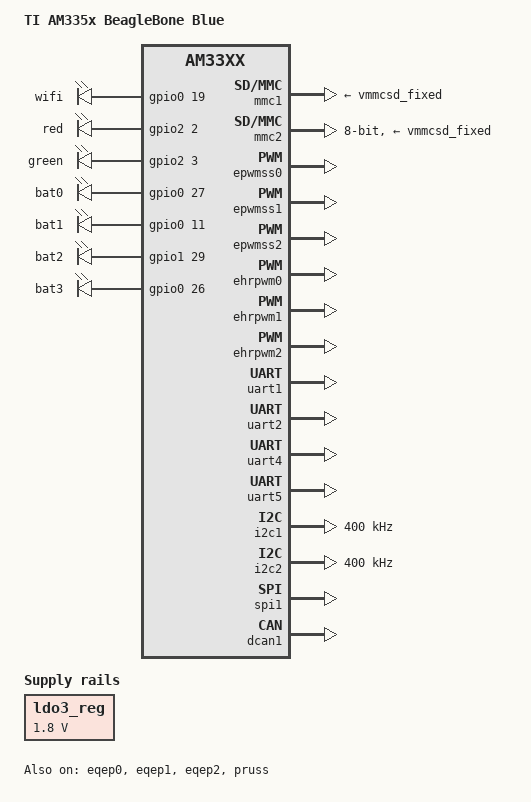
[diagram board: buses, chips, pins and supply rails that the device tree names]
/*
 * Copyright (C) 2012 Texas Instruments Incorporated - http://www.ti.com/
 *
 * This program is free software; you can redistribute it and/or modify
 * it under the terms of the GNU General Public License version 2 as
 * published by the Free Software Foundation.
 */

/dts-v1/;

#include "am33xx.dtsi"
#include "am335x-bone-common-no-capemgr.dtsi"
#include "am335x-bone-common-universal-pins.dtsi"
#include "am335x-boneblue-wl1835.dtsi"
#include "am33xx-pruss-rproc.dtsi"

#define BLUE_IO(x, y) AM33XX_IOPAD((x)*4+0x800, (y)) /* not used anymore */


/ {
	model = "TI AM335x BeagleBone Blue";
	compatible = "ti,am335x-bone-blue", "ti,am335x-bone", "ti,am33xx";
};

&ldo3_reg {
	regulator-min-microvolt = <1800000>;
	regulator-max-microvolt = <1800000>;
	regulator-always-on;
};

&mmc1 {
	vmmc-supply = <&vmmcsd_fixed>;
};

&mmc2 {
	vmmc-supply = <&vmmcsd_fixed>;
	pinctrl-names = "default";
	pinctrl-0 = <&emmc_pins>;
	bus-width = <8>;
	status = "okay";
};

&mac {
	status = "disabled";
};

&cpu0_opp_table {
	//osd335x
	opp50@300000000 {
		status = "disabled";
	};
};

/*******************************************************************************
* Pin Muxing
*******************************************************************************/
&am33xx_pinmux {

	/***************************************************************************
	* Static Pinmux
	***************************************************************************/
	mux_helper_pins: pins {
		pinctrl-single,pins = <

			/* GPIO Inputs */
			0x09c 0x37	/*P8.9  Pause BUTTON, input pullup*/
			0x098 0x37	/*P8.10 MODE BUTTON input pullup*/
			0x1AC 0x37	/*P9.25 MPU-9150 INTERRUPT IN*/

			/* Motor Control GPIO Out*/
			0x088 ( PIN_OUTPUT | MUX_MODE7 ) /* (T13) gpmc_csn3.gpio2[0] - MDIR_1A different from cape! */
			0x074 ( PIN_OUTPUT | MUX_MODE7 ) /* (U17) gpmc_wpn.gpio0[31] - P9.13, MDIR_1B */
			0x040 ( PIN_OUTPUT | MUX_MODE7 ) /* (R13) gpmc_a0.gpio1[16] - P9.15, MDIR_2A */
			0x0D8 ( PIN_OUTPUT | MUX_MODE7 ) /* (V4) lcd_data14.gpio0[10] - P8.31, MDIR_2B different from cape! */
			0x0AC ( PIN_OUTPUT | MUX_MODE7 ) /* (R4) lcd_data3.gpio2[9] - P8.44, MDIR_3A */
			0x0A8 ( PIN_OUTPUT | MUX_MODE7 ) /* (R3) lcd_data2.gpio2[8] - P8.43, MDIR_3B */
			0x0A0 ( PIN_OUTPUT | MUX_MODE7 ) /* (R1) lcd_data0.gpio2[6] - P8.45, MDIR_4A */
			0x0A4 ( PIN_OUTPUT | MUX_MODE7 ) /* (R2) lcd_data1.gpio2[7] - P8.46, MDIR_4B */
			0x1B4 ( PIN_OUTPUT | MUX_MODE7 ) /* (D14) xdma_event_intr1.gpio0[20] - P9.41, MOT_STBY */

			/* HRPWM 1 */
			0x048  0x6 /* P9_14 | MODE 6 */
			0x04c  0x6 /* P9_16 | MODE 6 */

			/* HRPWM 2 */
			0x020  0x4 /* P8_19 | MODE 4 */
			0x024  0x4 /* P8_13 | MODE 4 */

			/* EQEP */
			0x1A0 0x31  /* P9_42,EQEP0A, MODE1 */
			0x1A4 0x31  /* P9_27,EQEP0B, MODE1 */
			0x0D4 0x32  /* P8_33,EQEP1B, MODE2 */
			0x0D0 0x32  /* P8_35,EQEP1A, MODE2 */
			0x030 0x34  /* P8_12,EQEP2A, MODE4 */
			0x034 0x34  /* P8_11,EQEP2B, MODE4 */

			/* PRU encoder input */
			0x03c 0x35
			0x038 0x36	/* P8_16,PRU0_r31_16,MODE6 */

			/* PRU Servo output */
			0x0e0 0x05	/*pru1_pru_r30_8, MODE5*/
			0x0e8 0x05	/*pru1_pru_r30_10, MODE5 */
			0x0e4 0x05	/*pr1_pru1_pru_r30_9, MODE5 */
			0x0ec 0x05	/*pru1_pru_r30_11, MODE5 */
			0x0b8 0x05	/*pru1_pru_r30_6, MODE5 */
			0x0bc 0x05	/*pru1_pru_r30_7, MODE5 */
			0x0b0 0x05	/*pru1_pru_r30_4, MODE5 */
			0x0b4 0x05	/*pru1_pru_r30_5, MODE5 */
			0x0C8 0x0F	/*P8.36, SERVO_PWR GPIO OUT*/

			/* I2C1 */
			0x15C 0x32	/* P9.17,i2c1_scl,INPUT_PULLUP,MODE2 */
			0x158 0x32	/* P9.18,i2c1_sda,INPUT_PULLUP,MODE2 */

			/* I2C2 */
			0x17c  0x73 /* P9.19, i2c2_sda, mode 3 */
			0x178  0x73 /* P9.20, i2c2_sda, mode 3 */

			/* UART5 */
			0x0C4 ( PIN_INPUT | MUX_MODE4 ) /* (U2) lcd_data9.uart5_rxd - P8.38 */
			0x0C0 ( PIN_OUTPUT | MUX_MODE4 ) /* (U1) lcd_data8.uart5_txd - P8.37 */

			/* WILINK 8 */
			0x08c 0x0F	/*P8.18 V12 A2DP FSYNC */
			0x078 0x0F	/*P9.12 A2DP_CLOCK*/
		>;

		/***********************************************************************
		* New configurable pinmux modes for pins not on Black headers
		***********************************************************************/
		/* H18 SPI1_SS1    */
		H18_default_pin: pinmux_H18_default_pin {
			pinctrl-single,pins = < 0x144 ( PIN_OUTPUT | MUX_MODE2 ) >; };
		H18_gpio_pin: pinmux_H18_gpio_pin {
			pinctrl-single,pins = < 0x144 ( PIN_OUTPUT | MUX_MODE7 ) >; };
		H18_gpio_pu_pin: pinmux_H18_gpio_pu_pin {
			pinctrl-single,pins = < 0x144 ( PIN_INPUT_PULLUP | MUX_MODE7 ) >; };
		H18_gpio_pd_pin: pinmux_H18_gpio_pd_pin {
			pinctrl-single,pins = < 0x144 ( PIN_INPUT_PULLDOWN | MUX_MODE7 ) >; };
		H18_spi_pin: pinmux_H18_spi_pin {
			pinctrl-single,pins = < 0x144 ( PIN_OUTPUT | MUX_MODE2 ) >; };

		/* C18 SPI1_SS2    */
		C18_default_pin: pinmux_C18_default_pin {
			pinctrl-single,pins = < 0x164 ( PIN_OUTPUT | MUX_MODE2 ) >; };
		C18_gpio_pin: pinmux_C18_gpio_pin {
			pinctrl-single,pins = < 0x164 ( PIN_OUTPUT | MUX_MODE7 ) >; };
		C18_gpio_pu_pin: pinmux_C18_gpio_pu_pin {
			pinctrl-single,pins = < 0x164 ( PIN_INPUT_PULLUP | MUX_MODE7 ) >; };
		C18_gpio_pd_pin: pinmux_C18_gpio_pd_pin {
			pinctrl-single,pins = < 0x164 ( PIN_INPUT_PULLDOWN | MUX_MODE7 ) >; };
		C18_spi_pin: pinmux_C18_spi_pin {
			pinctrl-single,pins = < 0x164 ( PIN_OUTPUT | MUX_MODE2 ) >; };

		/* U16 BLUE_GP0_PIN_3 gpio 1_25   */
		U16_default_pin: pinmux_U16_default_pin {
			pinctrl-single,pins = < 0x064 ( PIN_INPUT_PULLUP | MUX_MODE7 ) >; };
		U16_gpio_pin: pinmux_U16_gpio_pin {
			pinctrl-single,pins = < 0x064 ( PIN_OUTPUT | MUX_MODE7 ) >; };
		U16_gpio_pu_pin: pinmux_U16_gpio_pu_pin {
			pinctrl-single,pins = < 0x064 ( PIN_INPUT_PULLUP | MUX_MODE7 ) >; };
		U16_gpio_pd_pin: pinmux_U16_gpio_pd_pin {
			pinctrl-single,pins = < 0x064 ( PIN_INPUT_PULLDOWN | MUX_MODE7 ) >; };

		/* D13 BLUE_GP0_PIN_5 gpio 3_20  */
		D13_default_pin: pinmux_D13_default_pin {
			pinctrl-single,pins = < 0x1A8 ( PIN_INPUT_PULLUP | MUX_MODE7 ) >; };
		D13_gpio_pin: pinmux_D13_gpio_pin {
			pinctrl-single,pins = < 0x1A8 ( PIN_OUTPUT | MUX_MODE7 ) >; };
		D13_gpio_pu_pin: pinmux_D13_gpio_pu_pin {
			pinctrl-single,pins = < 0x1A8 ( PIN_INPUT_PULLUP | MUX_MODE7 ) >; };
		D13_gpio_pd_pin: pinmux_D13_gpio_pd_pin {
			pinctrl-single,pins = < 0x1A8 ( PIN_INPUT_PULLDOWN | MUX_MODE7 ) >; };

		/* J15 BLUE_GP1_PIN_3 gpio 3_2  */
		J15_default_pin: pinmux_J15_default_pin {
			pinctrl-single,pins = < 0x110 ( PIN_INPUT_PULLUP | MUX_MODE7 ) >; };
		J15_gpio_pin: pinmux_J15_gpio_pin {
			pinctrl-single,pins = < 0x110 ( PIN_OUTPUT | MUX_MODE7 ) >; };
		J15_gpio_pu_pin: pinmux_J15_gpio_pu_pin {
			pinctrl-single,pins = < 0x110 ( PIN_INPUT_PULLUP | MUX_MODE7 ) >; };
		J15_gpio_pd_pin: pinmux_J15_gpio_pd_pin {
			pinctrl-single,pins = < 0x110 ( PIN_INPUT_PULLDOWN | MUX_MODE7 ) >; };

		/* H17 BLUE_GP1_PIN_4 gpio 3_1  */
		H17_default_pin: pinmux_H17_default_pin {
			pinctrl-single,pins = < 0x10C ( PIN_INPUT_PULLUP | MUX_MODE7 ) >; };
		H17_gpio_pin: pinmux_H17_gpio_pin {
			pinctrl-single,pins = < 0x10C ( PIN_OUTPUT | MUX_MODE7 ) >; };
		H17_gpio_pu_pin: pinmux_H17_gpio_pu_pin {
			pinctrl-single,pins = < 0x10C ( PIN_INPUT_PULLUP | MUX_MODE7 ) >; };
		H17_gpio_pd_pin: pinmux_H17_gpio_pd_pin {
			pinctrl-single,pins = < 0x10C ( PIN_INPUT_PULLDOWN | MUX_MODE7 ) >; };
	};


	/* DCAN */
	dcan1_pins: pinmux_dcan1_pins {
		pinctrl-single,pins = <
			0x16c ( PIN_INPUT  | MUX_MODE2 ) /* (E17) uart0_rtsn.dcan1_rx */
			0x168 ( PIN_OUTPUT | MUX_MODE2 ) /* (E18) uart0_ctsn.dcan1_tx */
			0x140 ( PIN_OUTPUT | MUX_MODE7 ) /* (M16) gmii1_rxd0.gpio2[21] */
		>;
	};

	led_pins: pinmux_led_pins {
		pinctrl-single,pins = <
			0x1B0 (PIN_OUTPUT | MUX_MODE7) /* (A15) xdma_event_intr0.gpio0[19] - WIFI_LED */
			0x090 (PIN_OUTPUT | MUX_MODE7) /* (R7) gpmc_advn_ale.gpio2[2] - P8.7, LED_RED, GP1_PIN_5 */
			0x094 (PIN_OUTPUT | MUX_MODE7) /* (T7) gpmc_oen_ren.gpio2[3] - P8.8, LED_GREEN, GP1_PIN_6 */
			0x02C (PIN_OUTPUT | MUX_MODE7) /* (U12) gpmc_ad11.gpio0[27] - P8.17, BATT_LED_1 */
			0x0DC (PIN_OUTPUT | MUX_MODE7) /* (T5) lcd_data15.gpio0[11] - P8.32, BATT_LED_2 diff from cape! */
			0x07C (PIN_OUTPUT | MUX_MODE7) /* (V6) gpmc_csn0.gpio1[29] - P8.26, BATT_LED_3 */
			0x028 (PIN_OUTPUT | MUX_MODE7) /* (T11) gpmc_ad10.gpio0[26] - P8.14, BATT_LED_4 */
		>;
	};
};


/*******************************************************************************
* apply static and dynamic pinmux modes listed above. Pins shared with the black
* header pins get the modes from am335x-boneblack-common-universal-pins.dtsi
*******************************************************************************/
&ocp {
	/* activate the static pinmux helper list of pin modes above */
	test_helper: helper {
		compatible = "bone-pinmux-helper";
		pinctrl-names = "default";
		pinctrl-0 = <&mux_helper_pins>;

		status = "okay";
	};

	/* UART4 RX DSM */
	P9_11_pinmux {
		compatible = "bone-pinmux-helper";
		status = "okay";
		pinctrl-names = "default", "gpio", "gpio_pu", "gpio_pd", "uart";
		pinctrl-0 = <&P9_11_default_pin>;
		pinctrl-1 = <&P9_11_gpio_pin>;
		pinctrl-2 = <&P9_11_gpio_pu_pin>;
		pinctrl-3 = <&P9_11_gpio_pd_pin>;
		pinctrl-4 = <&P9_11_uart_pin>;
	};

	/* UART 2 TX GPS*/
	P9_21_pinmux {
        compatible = "bone-pinmux-helper";
        status = "okay";
        pinctrl-names = "default", "gpio", "gpio_pu", "gpio_pd", "spi", "uart", "i2c", "pwm";
        pinctrl-0 = <&P9_21_default_pin>;
        pinctrl-1 = <&P9_21_gpio_pin>;
        pinctrl-2 = <&P9_21_gpio_pu_pin>;
        pinctrl-3 = <&P9_21_gpio_pd_pin>;
        pinctrl-4 = <&P9_21_spi_pin>;
        pinctrl-5 = <&P9_21_uart_pin>;
        pinctrl-6 = <&P9_21_i2c_pin>;
        pinctrl-7 = <&P9_21_pwm_pin>;
    };

    /* UART 2 RX GPS */
    P9_22_pinmux {
        compatible = "bone-pinmux-helper";
        status = "okay";
        pinctrl-names = "default", "gpio", "gpio_pu", "gpio_pd", "spi", "uart", "i2c", "pwm";
        pinctrl-0 = <&P9_22_default_pin>;
        pinctrl-1 = <&P9_22_gpio_pin>;
        pinctrl-2 = <&P9_22_gpio_pu_pin>;
        pinctrl-3 = <&P9_22_gpio_pd_pin>;
        pinctrl-4 = <&P9_22_spi_pin>;
        pinctrl-5 = <&P9_22_uart_pin>;
        pinctrl-6 = <&P9_22_i2c_pin>;
        pinctrl-7 = <&P9_22_pwm_pin>;
    };

    /* SPI MISO */
    P9_29_pinmux {
        compatible = "bone-pinmux-helper";
        status = "okay";
        pinctrl-names = "default", "gpio", "gpio_pu", "gpio_pd", "pwm", "spi", "pruout", "pruin";
        pinctrl-0 = <&P9_29_default_pin>;
        pinctrl-1 = <&P9_29_gpio_pin>;
        pinctrl-2 = <&P9_29_gpio_pu_pin>;
        pinctrl-3 = <&P9_29_gpio_pd_pin>;
        pinctrl-4 = <&P9_29_pwm_pin>;
        pinctrl-5 = <&P9_29_spi_pin>;
        pinctrl-6 = <&P9_29_pruout_pin>;
        pinctrl-7 = <&P9_29_pruin_pin>;
    };

    /* SPI MOSI */
    P9_30_pinmux {
        compatible = "bone-pinmux-helper";
        status = "okay";
        pinctrl-names = "default", "gpio", "gpio_pu", "gpio_pd", "pwm", "spi", "pruout", "pruin";
        pinctrl-0 = <&P9_30_default_pin>;
        pinctrl-1 = <&P9_30_gpio_pin>;
        pinctrl-2 = <&P9_30_gpio_pu_pin>;
        pinctrl-3 = <&P9_30_gpio_pd_pin>;
        pinctrl-4 = <&P9_30_pwm_pin>;
        pinctrl-5 = <&P9_30_spi_pin>;
        pinctrl-6 = <&P9_30_pruout_pin>;
        pinctrl-7 = <&P9_30_pruin_pin>;
    };

    /* SPI SCK */
    P9_31_pinmux {
        compatible = "bone-pinmux-helper";
        status = "okay";
        pinctrl-names = "default", "gpio", "gpio_pu", "gpio_pd", "pwm", "spi", "pruout", "pruin";
        pinctrl-0 = <&P9_31_default_pin>;
        pinctrl-1 = <&P9_31_gpio_pin>;
        pinctrl-2 = <&P9_31_gpio_pu_pin>;
        pinctrl-3 = <&P9_31_gpio_pd_pin>;
        pinctrl-4 = <&P9_31_pwm_pin>;
        pinctrl-5 = <&P9_31_spi_pin>;
        pinctrl-6 = <&P9_31_pruout_pin>;
        pinctrl-7 = <&P9_31_pruin_pin>;
    };

     /* SPI SS1 */
    H18_pinmux {
        compatible = "bone-pinmux-helper";
        status = "okay";
        pinctrl-names = "default", "gpio", "gpio_pu", "gpio_pd", "spi";
        pinctrl-0 = <&H18_default_pin>;
        pinctrl-1 = <&H18_gpio_pin>;
        pinctrl-2 = <&H18_gpio_pu_pin>;
        pinctrl-3 = <&H18_gpio_pd_pin>;
        pinctrl-4 = <&H18_spi_pin>;
    };

    /* SPI SS2 */
    C18_pinmux {
        compatible = "bone-pinmux-helper";
        status = "okay";
        pinctrl-names = "default", "gpio", "gpio_pu", "gpio_pd", "spi";
        pinctrl-0 = <&C18_default_pin>;
        pinctrl-1 = <&C18_gpio_pin>;
        pinctrl-2 = <&C18_gpio_pu_pin>;
        pinctrl-3 = <&C18_gpio_pd_pin>;
        pinctrl-4 = <&C18_spi_pin>;
    };

    /* UART 1 TX */
     P9_24_pinmux {
        compatible = "bone-pinmux-helper";
        status = "okay";
        pinctrl-names = "default", "gpio", "gpio_pu", "gpio_pd", "uart", "can", "i2c",  "pruin";
        pinctrl-0 = <&P9_24_default_pin>;
        pinctrl-1 = <&P9_24_gpio_pin>;
        pinctrl-2 = <&P9_24_gpio_pu_pin>;
        pinctrl-3 = <&P9_24_gpio_pd_pin>;
        pinctrl-4 = <&P9_24_uart_pin>;
        pinctrl-5 = <&P9_24_can_pin>;
        pinctrl-6 = <&P9_24_i2c_pin>;
        pinctrl-7 = <&P9_24_pruin_pin>;
    };

    /* UART 1 RX */
    P9_26_pinmux {
        compatible = "bone-pinmux-helper";
        status = "okay";
        pinctrl-names = "default", "gpio", "gpio_pu", "gpio_pd", "uart", "can", "i2c",  "pruin";
        pinctrl-0 = <&P9_26_default_pin>;
        pinctrl-1 = <&P9_26_gpio_pin>;
        pinctrl-2 = <&P9_26_gpio_pu_pin>;
        pinctrl-3 = <&P9_26_gpio_pd_pin>;
        pinctrl-4 = <&P9_26_uart_pin>;
        pinctrl-5 = <&P9_26_can_pin>;
        pinctrl-6 = <&P9_26_i2c_pin>;
        pinctrl-7 = <&P9_26_pruin_pin>;
    };

    /* U16 BLUE_GP0_PIN_3 gpio 1_25*/
    U16_pinmux {
        compatible = "bone-pinmux-helper";
        status = "okay";
        pinctrl-names = "default", "gpio", "gpio_pu", "gpio_pd";
        pinctrl-0 = <&U16_default_pin>;
        pinctrl-1 = <&U16_gpio_pin>;
        pinctrl-2 = <&U16_gpio_pu_pin>;
        pinctrl-3 = <&U16_gpio_pd_pin>;
    };


    /* BLUE_GP0_PIN_3 gpio1_17*/
    P9_23_pinmux {
        compatible = "bone-pinmux-helper";
        status = "okay";
        pinctrl-names = "default", "gpio", "gpio_pu", "gpio_pd", "pwm";
        pinctrl-0 = <&P9_23_default_pin>;
        pinctrl-1 = <&P9_23_gpio_pin>;
        pinctrl-2 = <&P9_23_gpio_pu_pin>;
        pinctrl-3 = <&P9_23_gpio_pd_pin>;
        pinctrl-4 = <&P9_23_pwm_pin>;
    };

    /* BLUE_GP0_PIN_5 gpio3_20 */
    D13_pinmux {
        compatible = "bone-pinmux-helper";
        status = "okay";
        pinctrl-names = "default", "gpio", "gpio_pu", "gpio_pd";
        pinctrl-0 = <&D13_default_pin>;
        pinctrl-1 = <&D13_gpio_pin>;
        pinctrl-2 = <&D13_gpio_pu_pin>;
        pinctrl-3 = <&D13_gpio_pd_pin>;
    };

    /* BLUE_GP0_PIN_6 gpio3_17 */
    P9_28_pinmux {
        compatible = "bone-pinmux-helper";
        status = "okay";
        pinctrl-names = "default", "gpio", "gpio_pu", "gpio_pd", "pwm", "spi", "pwm2", "pruout", "pruin";
        pinctrl-0 = <&P9_28_default_pin>;
        pinctrl-1 = <&P9_28_gpio_pin>;
        pinctrl-2 = <&P9_28_gpio_pu_pin>;
        pinctrl-3 = <&P9_28_gpio_pd_pin>;
        pinctrl-4 = <&P9_28_pwm_pin>;
        pinctrl-5 = <&P9_28_spi_pin>;
        pinctrl-6 = <&P9_28_pwm2_pin>;
        pinctrl-7 = <&P9_28_pruout_pin>;
        pinctrl-8 = <&P9_28_pruin_pin>;
    };

    /* BLUE_GP1_PIN_3 gpio3_2 */
    J15_pinmux {
        compatible = "bone-pinmux-helper";
        status = "okay";
        pinctrl-names = "default", "gpio", "gpio_pu", "gpio_pd";
        pinctrl-0 = <&J15_default_pin>;
        pinctrl-1 = <&J15_gpio_pin>;
        pinctrl-2 = <&J15_gpio_pu_pin>;
        pinctrl-3 = <&J15_gpio_pd_pin>;
    };

    /* BLUE_GP1_PIN_4 gpio3_1 */
    H17_pinmux {
        compatible = "bone-pinmux-helper";
        status = "okay";
        pinctrl-names = "default", "gpio", "gpio_pu", "gpio_pd";
        pinctrl-0 = <&H17_default_pin>;
        pinctrl-1 = <&H17_gpio_pin>;
        pinctrl-2 = <&H17_gpio_pu_pin>;
        pinctrl-3 = <&H17_gpio_pd_pin>;
    };



};


/*******************************************************************************
*	PWMSS
*******************************************************************************/
&epwmss0 {
	status = "okay";
};

&epwmss1 {
	status = "okay";
};

&epwmss2 {
	status = "okay";
};

&ehrpwm0 {
	status = "okay";
};

&ehrpwm1 {
	status = "okay";
};

&ehrpwm2 {
	status = "okay";
};


/*******************************************************************************
* EQEP
*******************************************************************************/
&eqep0 {
	count_mode = <0>;  /* 0 - Quadrature mode, normal 90 phase offset cha & chb.  1 - Direction mode.  cha input = clock, chb input = direction */
	swap_inputs = <0>; /* Are channel A and channel B swapped? (0 - no, 1 - yes) */
	invert_qa = <1>;   /* Should we invert the channel A input?  */
	invert_qb = <1>;   /* Should we invert the channel B input? I invert these because my encoder outputs drive transistors that pull down the pins */
	invert_qi = <0>;   /* Should we invert the index input? */
	invert_qs = <0>;   /* Should we invert the strobe input? */
	status = "okay";
};

&eqep1 {
	count_mode = <0>;  /* 0 - Quadrature mode, normal 90 phase offset cha & chb.  1 - Direction mode.  cha input = clock, chb input = direction */
	swap_inputs = <0>; /* Are channel A and channel B swapped? (0 - no, 1 - yes) */
	invert_qa = <1>;   /* Should we invert the channel A input?  */
	invert_qb = <1>;   /* Should we invert the channel B input? I invert these because my encoder outputs drive transistors that pull down the pins */
	invert_qi = <0>;   /* Should we invert the index input? */
	invert_qs = <0>;   /* Should we invert the strobe input? */
	status = "okay";
};

&eqep2 {
	count_mode = <0>;  /* 0 - Quadrature mode, normal 90 phase offset cha & chb.  1 - Direction mode.  cha input = clock, chb input = direction */
	swap_inputs = <0>; /* Are channel A and channel B swapped? (0 - no, 1 - yes) */
	invert_qa = <1>;   /* Should we invert the channel A input?  */
	invert_qb = <1>;   /* Should we invert the channel B input? I invert these because my encoder outputs drive transistors that pull down the pins */
	invert_qi = <0>;   /* Should we invert the index input? */
	invert_qs = <0>;   /* Should we invert the strobe input? */
	status = "okay";
};


/*******************************************************************************
	UART
*******************************************************************************/

&uart1 {
	status = "okay";
};

&uart2 {
	status = "okay";
};

&uart4 {
	status = "okay";
};

&uart5 {
	status = "okay";
};


/*******************************************************************************
	PRU
*******************************************************************************/
&pruss {
	status = "okay";
};


/*******************************************************************************
	I2C
*******************************************************************************/
&i2c1 {
	#address-cells = <1>;
	#size-cells = <0>;
	status = "okay";
	clock-frequency = <400000>;
};

&i2c2 {
	#address-cells = <1>;
	#size-cells = <0>;
	status = "okay";
	clock-frequency = <400000>;
};

/*******************************************************************************
	SPI
*******************************************************************************/
&spi1 {
	#address-cells = <1>;
	#size-cells = <0>;
	status = "okay";

	channel@0 {
		#address-cells = <1>;
		#size-cells = <0>;
		compatible = "spidev";
		reg = <0>;
		spi-max-frequency = <24000000>;
	};

	channel@1 {
		#address-cells = <1>;
		#size-cells = <0>;
		compatible = "spidev";
		reg = <1>;
		spi-max-frequency = <24000000>;
	};
};

/ {
	leds {
		pinctrl-names = "default";
		pinctrl-0 = <&led_pins>;
		compatible = "gpio-leds";

		wifi_led {
			label = "wifi";
			gpios = <&gpio0 19 GPIO_ACTIVE_HIGH>;
			default-state = "off";
			linux,default-trigger = "phy0assoc";
		};

		red_led {
			label = "red";
			gpios = <&gpio2 2 GPIO_ACTIVE_HIGH>;
			default-state = "off";
		};

		green_led {
			label = "green";
			gpios = <&gpio2 3 GPIO_ACTIVE_HIGH>;
			default-state = "off";
		};

		batt_1_led {
			label = "bat0";
			gpios = <&gpio0 27 GPIO_ACTIVE_HIGH>;
			default-state = "off";
		};

		batt_2_led {
			label = "bat1";
			gpios = <&gpio0 11 GPIO_ACTIVE_HIGH>;
			default-state = "off";
		};

		batt_3_led {
			label = "bat2";
			gpios = <&gpio1 29 GPIO_ACTIVE_HIGH>;
			default-state = "off";
		};

		batt_4_led {
			label = "bat3";
			gpios = <&gpio0 26 GPIO_ACTIVE_HIGH>;
			default-state = "off";
		};
	};

	btwilink {
		compatible = "btwilink";
	};
};

&dcan1 {
	pinctrl-names = "default";
	pinctrl-0 = <&dcan1_pins>;
	status = "okay";
};
